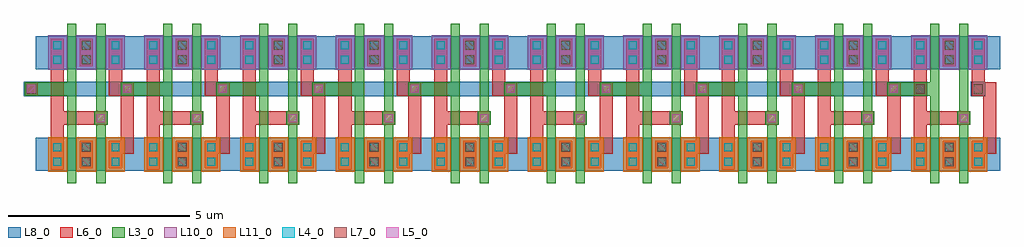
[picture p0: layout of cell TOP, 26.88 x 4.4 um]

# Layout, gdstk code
import gdstk
lib = gdstk.Library(unit=1e-6, precision=1e-09)
def R(c, l, rs):  # rectangles x0, y0, x1, y1
    for r in rs: c.add(gdstk.rectangle(r[:2], r[2:], *l))
def P(c, l, *ps):  # polygons
    for p in ps: c.add(gdstk.Polygon(p, *l))
L3_0 = (3, 0)
L4_0 = (4, 0)
L5_0 = (5, 0)
L6_0 = (6, 0)
L7_0 = (7, 0)
L8_0 = (8, 0)
L10_0 = (10, 0)
L11_0 = (11, 0)

net__1 = lib.new_cell('NET_$1')
R(net__1, L4_0, [(-0.51,-0.31,-0.29,-0.09), (-0.51,0.09,-0.29,0.31)])
R(net__1, L6_0, [(-0.58,-0.38,-0.22,0.38)])

net__2_1 = lib.new_cell('NET_$2$1')
R(net__2_1, L4_0, [(0.29,-0.31,0.51,-0.09), (0.29,0.09,0.51,0.31)])
R(net__2_1, L6_0, [(0.22,-0.38,0.58,0.38)])

net__3 = lib.new_cell('NET_$3')
R(net__3, L3_0, [(-0.125,-0.8,0.125,0.8)])

trans = lib.new_cell('TRANS')
trans.add(gdstk.Reference(net__1, (0,0)))
trans.add(gdstk.Reference(net__2_1, (0,0)))
trans.add(gdstk.Reference(net__3, (0,0)))

net_in = lib.new_cell('NET_IN')
R(net_in, L3_0, [(-0.525,-0.25,-0.275,2.25), (-1.7,1.62,-0.4,1.98)])
R(net_in, L5_0, [(-1.63,1.69,-1.41,1.91)])

net__2 = lib.new_cell('NET_$2')
R(net__2, L3_0, [(0.275,-0.25,0.525,2.25), (0.22,0.82,0.58,1.18)])
R(net__2, L5_0, [(0.29,0.89,0.51,1.11)])
R(net__2, L6_0, [(-0.98,-0.42,-0.62,2.42), (-0.8,0.82,0.58,1.18)])
R(net__2, L10_0, [(-1.05,2.325,-0.525,3.275)])
R(net__2, L11_0, [(-1.05,-0.475,-0.525,0.475)])

net_out = lib.new_cell('NET_OUT')
P(net_out, L6_0, [(0.8,0.02),(0.8,0.38),(0.94,0.38),(0.94,1.62),(0.62,1.62),(0.62,2.42),(0.98,2.42),(0.98,1.98),(1.3,1.98),(1.3,0.02)])
R(net_out, L10_0, [(0.525,2.325,1.05,3.275)])
R(net_out, L11_0, [(0.525,-0.475,1.05,0.475)])

net__4 = lib.new_cell('NET_$4')
R(net__4, L7_0, [(-0.125,-0.325,0.125,-0.075), (-0.125,0.075,0.125,0.325)])
R(net__4, L8_0, [(-1.4,-0.45,1.4,0.45)])
R(net__4, L11_0, [(-0.275,-0.475,0.275,0.475)])

net__5 = lib.new_cell('NET_$5')
R(net__5, L7_0, [(-0.125,2.475,0.125,2.725), (-0.125,2.875,0.125,3.125)])
R(net__5, L8_0, [(-1.4,2.35,1.4,3.25)])
R(net__5, L10_0, [(-0.275,2.325,0.275,3.275)])

d_pmos = lib.new_cell('D$PMOS')

d_pmos_1 = lib.new_cell('D$PMOS$1')

d_nmos = lib.new_cell('D$NMOS')

d_nmos_1 = lib.new_cell('D$NMOS$1')

inv2 = lib.new_cell('INV2')
inv2.add(gdstk.Reference(trans, (-0.4,0)))
inv2.add(gdstk.Reference(trans, (-0.4,2.8)))
inv2.add(gdstk.Reference(trans, (0.4,0), x_reflection=True))
inv2.add(gdstk.Reference(trans, (0.4,2.8), x_reflection=True))
inv2.add(gdstk.Reference(net_in, (0,0)))
inv2.add(gdstk.Reference(net__2, (0,0)))
inv2.add(gdstk.Reference(net_out, (0,0)))
inv2.add(gdstk.Reference(net__4, (0,0)))
inv2.add(gdstk.Reference(net__5, (0,0)))
inv2.add(gdstk.Reference(d_pmos, (-0.4,2.8)))
inv2.add(gdstk.Reference(d_pmos_1, (0.4,2.8)))
inv2.add(gdstk.Reference(d_nmos, (-0.4,0)))
inv2.add(gdstk.Reference(d_nmos_1, (0.4,0)))

net_fb = lib.new_cell('NET_FB')
R(net_fb, L6_0, [(-1.7,1.62,-1.34,1.98)])
R(net_fb, L7_0, [(-1.645,1.675,-1.395,1.925), (22.835,1.675,23.085,1.925)])
R(net_fb, L8_0, [(-1.72,1.6,23.16,2)])

net_osc = lib.new_cell('NET_OSC')
R(net_osc, L7_0, [(24.435,1.675,24.685,1.925)])
R(net_osc, L8_0, [(24.36,1.6,24.76,2)])

top = lib.new_cell('TOP')
top.add(gdstk.Reference(inv2, (0,0)))
top.add(gdstk.Reference(inv2, (2.64,0)))
top.add(gdstk.Reference(inv2, (5.28,0)))
top.add(gdstk.Reference(inv2, (7.92,0)))
top.add(gdstk.Reference(inv2, (10.56,0)))
top.add(gdstk.Reference(inv2, (13.2,0)))
top.add(gdstk.Reference(inv2, (15.84,0)))
top.add(gdstk.Reference(inv2, (18.48,0)))
top.add(gdstk.Reference(inv2, (21.12,0)))
top.add(gdstk.Reference(inv2, (23.76,0)))
top.add(gdstk.Reference(net_fb, (0,0)))
top.add(gdstk.Reference(net_osc, (0,0)))

lib.write_gds('TOP.gds')
